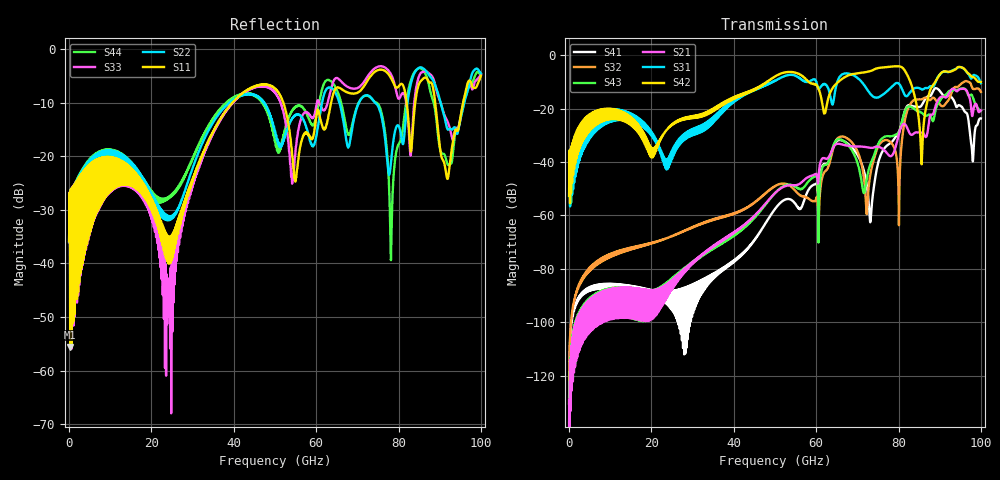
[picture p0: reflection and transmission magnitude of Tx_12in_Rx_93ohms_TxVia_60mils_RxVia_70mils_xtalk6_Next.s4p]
! Info: Touchstone file created by Circ.  Input file=Tx_12in_Rx_93ohms_TxVia_60mils_RxVia_70mils.circ
# Hz S RI R 50
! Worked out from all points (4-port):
!   10000 points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, 10 MHz to 100 GHz, reference 50 ohm
!   strongest paths, dB at 10 MHz, 25.01 GHz, 50.01 GHz, 75.01 GHz, 100 GHz:
!     S42: -52.7, -26.0, -8.0, -4.8, -10.0
!     S31: -52.7, -38.5, -9.7, -15.8, -10.5
!     S21: -139.5, -87.2, -51.7, -34.2, -20.7
!     S43: -137.5, -85.8, -51.6, -33.4, -20.9
!     S32: -130.5, -67.7, -49.0, -34.4, -13.7
!     S41: -130.5, -93.1, -57.6, -40.6, -23.7
!   lowest |S11| = -55.5 dB at 270 MHz (marker M1), VSWR 1.00, Z = 49.9 + j0.134 ohm
!   |S11| at or under -10 dB: start of sweep to 39.7 GHz; 51.99 GHz to 63.65 GHz (11.66 GHz wide, 20.2 % of centre); 88.91 GHz to 95.7 GHz (6.794 GHz wide, 7.36 % of centre)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
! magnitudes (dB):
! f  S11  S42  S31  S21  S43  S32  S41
! 10 MHz  -35.9  -52.7  -52.7  -139.5  -137.5  -130.5  -130.5
! 270 MHz  -55.5  -42.6  -42.6  -114.3  -113.4  -104.8  -105.8
! 24.32 GHz  -40.1  -27.0  -37.9  -85.0  -84.4  -68.2  -88.7
! 37.58 GHz  -12.1  -18.5  -20.9  -69.1  -70.1  -60.5  -79.4
! 65.92 GHz  -7.4  -9.3  -7.7  -33.3  -31.6  -30.5  -31.8
! 72.31 GHz  -6.1  -6.3  -12.7  -34.5  -46.0  -59.2  -48.8
! 100 GHz  -5.0  -10.0  -10.5  -20.7  -20.9  -13.7  -23.7
